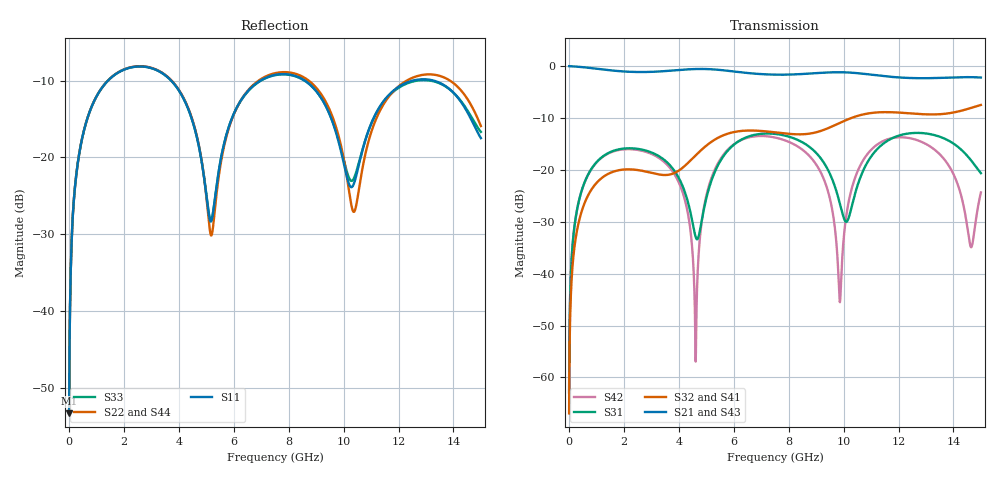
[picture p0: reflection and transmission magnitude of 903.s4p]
! Created with skrf 1.8.0 (http://scikit-rf.org).
# GHz S RI R 50.0
!freq ReS11 ImS11 ReS12 ImS12 ReS13 ImS13
! ReS14 ImS14
! ReS21 ImS21 ReS22 ImS22 ReS23 ImS23
! ReS24 ImS24
! ReS31 ImS31 ReS32 ImS32 ReS33 ImS33
! ReS34 ImS34
! ReS41 ImS41 ReS42 ImS42 ReS43 ImS43
! ReS44 ImS44
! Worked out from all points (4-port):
!   2499 points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, 5 MHz to 15 GHz, reference 50 ohm
!   strongest paths, dB at 5 MHz, 3.476 GHz, 7.19 GHz, 11.1 GHz, 15 GHz:
!     S21: 0.0, -1.0, -1.6, -1.7, -2.2
!     S43: 0.0, -1.0, -1.6, -1.7, -2.2
!     S32: -66.9, -21.0, -12.6, -9.0, -7.5
!     S41: -66.9, -21.1, -12.7, -9.0, -7.5
!     S31: -62.9, -18.1, -13.0, -16.8, -20.6
!     S42: -62.9, -18.5, -13.5, -15.7, -24.4
!   lowest |S11| = -53.3 dB at 5 MHz (marker M1), VSWR 1.00, Z = 50.2 + j0.132 ohm
!   |S11| at or under -10 dB: 3.721 GHz to 6.972 GHz (3.251 GHz wide, 60.8 % of centre); 8.587 GHz to 12.52 GHz (3.936 GHz wide, 37.3 % of centre); 13.28 GHz to end of sweep (the widest 3 of 4)
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0.005  0.00173 0.00131  0.9982 -0.00337  8.83e-05 0.000713  -8.55e-05 -0.000443
       0.9982 -0.00337  0.00173 0.00131  -8.55e-05 -0.000443  8.81e-05 0.000713
       8.83e-05 0.000713  -8.55e-05 -0.000443  0.00173 0.00131  0.9982 -0.00337
       -8.55e-05 -0.000443  8.81e-05 0.000713  0.9982 -0.00337  0.00173 0.00131
1.569404  0.2888 0.1686  0.5035 -0.7543  0.1413 0.053  -0.0948 0.00146
          0.5035 -0.7543  0.2905 0.1674  -0.0951 0.00179  0.1361 0.0608
          0.1413 0.053  -0.0951 0.00179  0.2887 0.1688  0.5035 -0.7543
          -0.0948 0.00146  0.1361 0.0608  0.5035 -0.7543  0.2907 0.1672
4.60817  0.0794 -0.1237  -0.8501 -0.3939  -0.0193 -0.0121  -0.0554 0.1259
         -0.8501 -0.3939  0.0737 -0.1298  -0.0517 0.1275  -0.0011 -0.00125
         -0.0193 -0.0121  -0.0517 0.1275  0.0804 -0.1235  -0.8501 -0.3938
         -0.0554 0.1259  -0.0011 -0.00125  -0.8501 -0.3938  0.0731 -0.1305
8.003335  0.3449 -0.0344  -0.0191 0.8282  0.1801 -0.1062  0.2079 -0.0674
          -0.0191 0.8282  0.3548 -0.044  0.2084 -0.0778  0.1781 -0.0545
          0.1801 -0.1062  0.2084 -0.0778  0.3436 -0.0308  -0.0187 0.8278
          0.2079 -0.0674  0.1781 -0.0545  -0.0187 0.8278  0.3577 -0.0474
9.866611  0.0856 -0.0803  0.7711 0.4084  -0.0334 -0.0332  0.132 -0.2511
          0.7711 0.4084  0.0738 -0.1041  0.1162 -0.2591  0.00522 0.000923
          -0.0334 -0.0332  0.1162 -0.2591  0.0919 -0.0786  0.7709 0.408
          0.132 -0.2511  0.00522 0.000923  0.7709 0.408  0.0698 -0.108
11.29221  0.1688 0.1258  0.747 -0.3124  0.1385 0.0899  -0.1704 -0.3141
          0.747 -0.3124  0.1453 0.1318  -0.189 -0.3049  0.1447 0.1076
          0.1385 0.0899  -0.189 -0.3049  0.1694 0.1209  0.7467 -0.3131
          -0.1704 -0.3141  0.1447 0.1076  0.7467 -0.3131  0.1447 0.1352
15  0.1287 -0.0359  -0.6365 -0.4433  -0.0884 -0.0286  -0.2535 0.3389
    -0.6365 -0.4433  0.1258 -0.0989  -0.2224 0.359  -0.0264 0.0545
    -0.0884 -0.0286  -0.2224 0.359  0.1427 -0.0339  -0.6364 -0.4419
    -0.2535 0.3389  -0.0264 0.0545  -0.6364 -0.4419  0.1194 -0.1046
